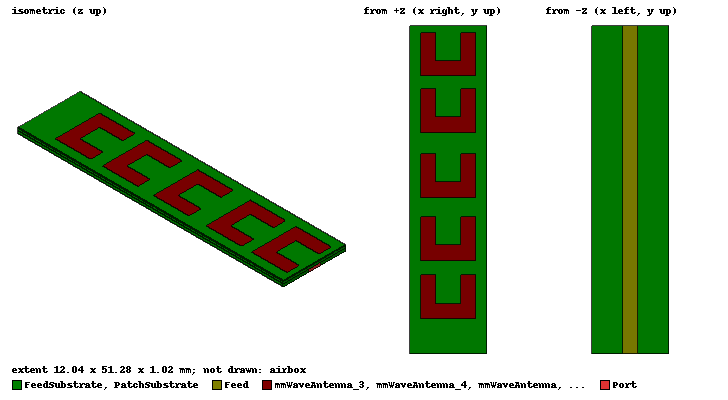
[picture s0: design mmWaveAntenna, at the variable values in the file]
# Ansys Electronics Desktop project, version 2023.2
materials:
  vacuum: permittivity=1
  Rogers3003: permittivity=3 dielectric_loss_tangent=0.001
  air: permittivity=1.0006 permeability=1.0000004
  copper: permeability=0.999991 conductivity=58000000

design mmWaveAntenna (HFSS, HFSS Modal Network, model units mm)
options: Save_Adaptive_support_files
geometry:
  mmWaveAntenna = rectangle(corner=(-4.285mm, -1.19mm, 1.02mm), x_size=8.57mm, y_size=2.38mm)
  U1B = rectangle(corner=(-4.285mm, 1.19mm, 1.02mm), x_size=2.38mm, y_size=4.48mm)
  mmWaveAntenna.unite(U1B)
  U1C = rectangle(corner=(1.905mm, 1.19mm, 1.02mm), x_size=2.38mm, y_size=4.48mm)
  mmWaveAntenna.unite(U1C)
  Feed = rectangle(corner=(-1.205mm, -25.641mm, 0mm), x_size=2.41mm, y_size=51.282mm)
  slot = rectangle(corner=(-2.755mm, -0.475mm, 0.51mm), x_size=5.51mm, y_size=0.95mm)
  FeedSubstrate [Rogers3003] = box(corner=(-6.0225mm, -25.641mm, 0mm), size=(12.045mm, 51.282mm, 0.51mm))
  PatchSubstrate [Rogers3003] = box(corner=(-6.0225mm, -25.641mm, 0.51mm), size=(12.045mm, 51.282mm, 0.51mm))
  Ground = rectangle(corner=(-6.0225mm, -25.641mm, 0.51mm), x_size=12.045mm, y_size=51.282mm)
  mmWaveAntenna_1 = mmWaveAntenna.duplicate_along_line(step=(0mm, -9.86mm, 0mm), total=2)
  mmWaveAntenna_2 = mmWaveAntenna.duplicate_along_line(step=(0mm, 10.15mm, 0mm), total=2)
  mmWaveAntenna_3 = mmWaveAntenna.duplicate_along_line(step=(0mm, -18.95mm, 0mm), total=2)
  mmWaveAntenna_4 = mmWaveAntenna.duplicate_along_line(step=(0mm, 18.95mm, 0mm), total=2)
  slot_1 = slot.duplicate_along_line(step=(0mm, -9.86mm, 0mm), total=2)
  slot_2 = slot.duplicate_along_line(step=(0mm, 10.15mm, 0mm), total=2)
  slot_3 = slot.duplicate_along_line(step=(0mm, -18.95mm, 0mm), total=2)
  slot_4 = slot.duplicate_along_line(step=(0mm, 18.95mm, 0mm), total=2)
  Ground.subtract(slot)
  Ground.subtract(slot_1)
  Ground.subtract(slot_2)
  Ground.subtract(slot_3)
  Ground.subtract(slot_4)
  airbox [air] = box(corner=(-9.819968mm, -29.438468mm, -3.797468mm), size=(19.639937mm, 58.876937mm, 12.412405mm))
  Port = rectangle(corner=(-1.205mm, 25.641mm, 0mm), z_size=0.51mm, x_size=2.41mm)
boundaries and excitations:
  radiation: Radiation Objects=airbox
  finiteConductivity1: Finite Conductivity Objects=Ground UseMaterial Material=copper
  finiteConductivity2: Finite Conductivity Objects=mmWaveAntenna UseMaterial Material=copper
  finiteConductivity3: Finite Conductivity Objects=mmWaveAntenna_1 UseMaterial Material=copper
  finiteConductivity4: Finite Conductivity Objects=mmWaveAntenna_2 UseMaterial Material=copper
  finiteConductivity5: Finite Conductivity Objects=mmWaveAntenna_3 UseMaterial Material=copper
  finiteConductivity6: Finite Conductivity Objects=mmWaveAntenna_4 UseMaterial Material=copper
  finiteConductivity7: Finite Conductivity Objects=Feed UseMaterial Material=copper
  port: Lumped Port Objects=Port LumpedPortType=Modal Modes{Mode1{IntLine{(-1.205, 25.641, 0) -> (-1.205, 25.641, 0.51)} CharImp=Zpi}} Impedance=50ohm
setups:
  Setup79000MHz: HfssDriven Frequency=79GHz MaxDeltaS=0.02 MaximumPasses=20 MinimumPasses=1 MinimumConvergedPasses=1 PercentRefinement=30 BasisOrder=1 PortAccuracy=2 DrivenSolverType="Direct Solver"
    sweep Dicrete: point 79GHz; SaveSingleField Type=Discrete
  Setup1: HfssDriven MultipleAdaptiveFreqsSetup{AdaptAt{Frequency=77GHz Delta=0.02} AdaptAt{Frequency=79GHz Delta=0.02} AdaptAt{Frequency=81GHz Delta=0.02}} MaximumPasses=8 MinimumPasses=1 MinimumConvergedPasses=1 PercentRefinement=30 BasisOrder=1 PortAccuracy=2 DrivenSolverType="Direct Solver"
    sweep Sweep: 74GHz to 83GHz, 1001 points; Type=Interpolating InterpTolerance=0.5 InterpMaxSolns=250 InterpUsePortImped=false PassivityErrorTolerance=0.0001
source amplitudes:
  port:1: 1W 0deg
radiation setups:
  radiation: Infinite Sphere Theta=0deg..360deg step 1deg Phi=0deg..360deg step 1deg
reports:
  S11: dB(S(port,port)) vs Freq on Setup1 : Sweep; markers MX1 at x=7.9004988e+10
  Directivity: dB10normalize(DirTotal) vs Theta on Setup1 : LastAdaptive, radiation [Phi=0deg Freq=79GHz]
  Realized_gain: dB(RealizedGainTotal) vs Theta on Setup1 : LastAdaptive, radiation [Phi=0deg Freq=79GHz]; markers m1 at 360deg
  Smith Chart: S(port,port) on Setup1 : Sweep [Freq=all]
  3D Polar Plot 1: dB(RealizedGainTotal) vs Phi, Theta on Setup79000MHz : LastAdaptive, radiation [Freq=79GHz]
  XY Plot 1: re(Z(port,port)), im(Z(port,port)) vs Freq on Setup1 : Sweep; markers MX1 at x=7.7e+10, MX2 at x=8.1e+10, MX3 at x=7.899858e+10
  XY Plot 2: abs(RadiationEfficiency) vs Theta on Setup1 : LastAdaptive, radiation [Phi=all Freq=79GHz]; markers MX1 at x=0
  Radiation Pattern 1: dB(RealizedGainTotal) vs Theta on Setup79000MHz : LastAdaptive, radiation [Phi=0deg Freq=79GHz]
  Radiation Pattern 2: dB(RealizedGainX) vs Theta on Setup79000MHz : LastAdaptive, radiation [Phi=0deg Freq=79GHz]
  Radiation Pattern 3: dB(RealizedGainY) vs Theta on Setup79000MHz : LastAdaptive, radiation [Phi=0deg Freq=79GHz]
  Radiation Pattern 4: dB(RealizedGainZ) vs Theta on Setup79000MHz : LastAdaptive, radiation [Phi=0deg Freq=79GHz]
  Radiation Pattern 5: dB(RealizedGainPhi) vs Theta on Setup1 : LastAdaptive, radiation [Phi=0deg Freq=79GHz]
  Radiation Pattern 6: dB(RealizedGainTheta) vs Theta on Setup1 : LastAdaptive, radiation [Phi=0deg Freq=79GHz]
